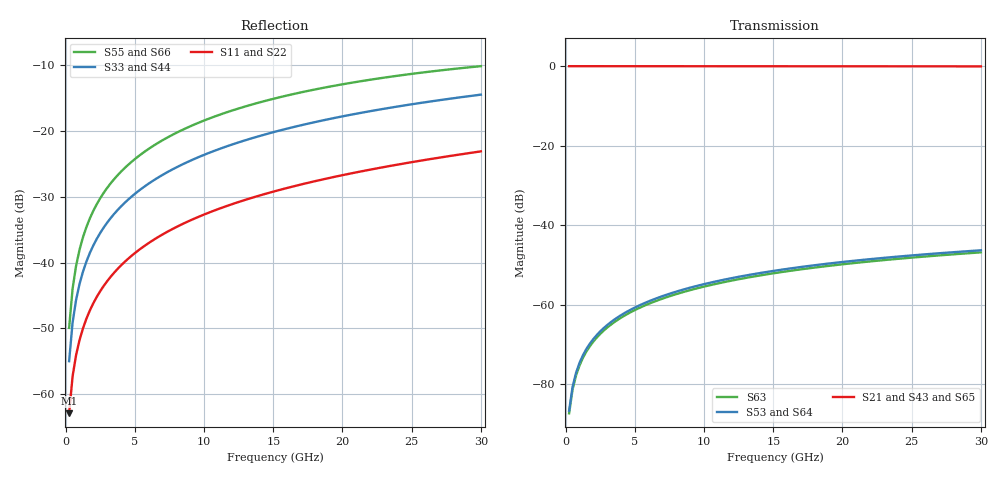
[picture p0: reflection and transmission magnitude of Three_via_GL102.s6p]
! Created Fri Apr  9 13:31:56 2021
! List of port names and net name(s): example Port n = <port_name> <net_name1> <net_name2> ...
! Port 1 = P1 P1 P3
! Port 2 = P2 P2 P4
! Port 3 = P5 N__5 P7
! Port 4 = P6 N__6 P8
! Port 5 = P9 P11 N__9
! Port 6 = P10 N__10 P12
# hz S ri R 50
! 6 Port Network Data from data block
! freq  reS11  imS11  reS12  imS12  reS13  imS13  reS14  imS14
!  reS15  imS15  reS16  imS16
!  reS21  imS21  reS22  imS22
!  reS23  imS23  reS24  imS24  reS25  imS25  reS26  imS26
!  reS31  imS31  reS32  imS32  reS33  imS33  reS34  imS34
!  reS35  imS35  reS36  imS36
!  reS41  imS41  reS42  imS42
!  reS43  imS43  reS44  imS44  reS45  imS45  reS46  imS46
!  reS51  imS51  reS52  imS52  reS53  imS53  reS54  imS54
!  reS55  imS55  reS56  imS56
!  reS61  imS61  reS62  imS62
!  reS63  imS63  reS64  imS64  reS65  imS65  reS66  imS66
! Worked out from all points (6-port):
!   120 points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, 250 MHz to 30 GHz, reference 50 ohm
!   strongest paths, dB at 250 MHz, 7.75 GHz, 15.25 GHz, 22.75 GHz, 30 GHz:
!     S21: 0.0, 0.0, 0.0, 0.0, -0.1
!     S43: 0.0, 0.0, -0.1, -0.1, -0.2
!     S65: 0.0, -0.1, -0.2, -0.3, -0.5
!     S53: -86.7, -57.0, -51.4, -48.3, -46.3
!     S64: -86.7, -57.0, -51.5, -48.5, -46.7
!     S63: -87.3, -57.6, -52.0, -48.9, -46.8
!   lowest |S11| = -62.9 dB at 250 MHz (marker M1), VSWR 1.00, Z = 50 + j0.0699 ohm
!   |S11| at or under -10 dB: start of sweep to end of sweep
